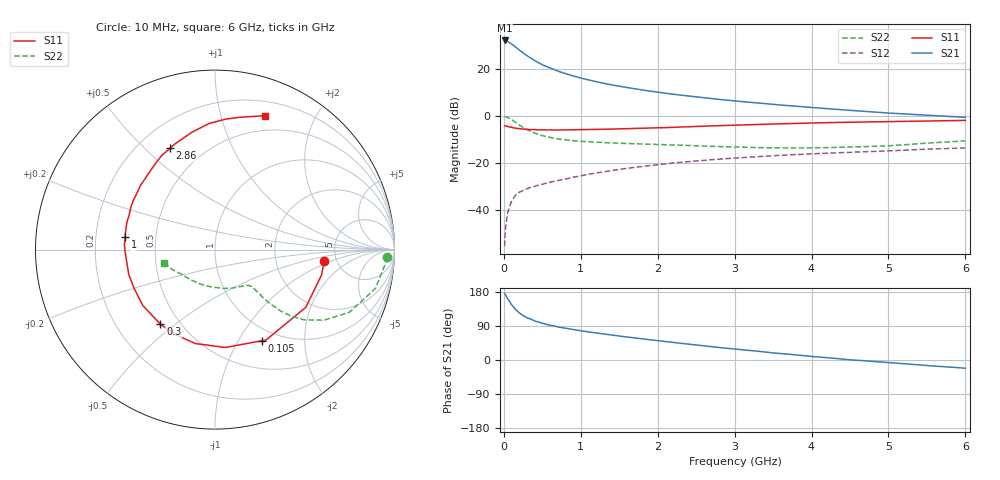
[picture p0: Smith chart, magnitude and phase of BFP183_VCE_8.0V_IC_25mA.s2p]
! Infineon Technologies  Discrete & RF Semiconductors
! BFP183
! VCE = 8.0 V,  IC =  25 mA
! Common Emitter S-Parameters:  Jan 2016
# GHz  S  MA  R  50
!  f  S11  S21  S12  S22
! GHz  MAG  ANG  MAG  ANG  MAG  ANG  MAG  ANG
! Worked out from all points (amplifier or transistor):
!   210 points, 10 MHz to 6 GHz, reference 50 ohm
!   highest |S21| = 31.9 dB at 10 MHz (marker M1)
!   |S21| within 3 dB of that: start of sweep to 160.5 MHz
!   unconditionally stable (mu >= 1): 869 MHz to 5.822 GHz
!   at 185 MHz: K = 0.39, MSG = 30.6 dB, |S12| = -32.9 dB
!   at 1.52 GHz: K = 1.12, MAG = 15.4 dB, |S12| = -22.7 dB
!   at 6 GHz: K = 0.97, MSG = 6.5 dB, |S12| = -13.7 dB
!   S11 on the Smith chart (normalised r, x): 10 MHz: 3.96, -0.82; 105 MHz: 0.84, -1.27; 300 MHz: 0.39, -0.44; 1 GHz: 0.33, +0.06; 2.86 GHz: 0.33, +0.60; 6 GHz: 0.34, +1.38
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0.01  0.6113 -6.1  39.56 175.5  0.0017 79.5  0.958 -2.5
0.02  0.6104 -13.4  39.34 172.4  0.0037 80.6  0.9489 -5.4
0.05  0.5994 -32.5  37.83 161.5  0.0086 77.7  0.9199 -13.6
0.1  0.5782 -60.5  33.46 146.0  0.0151 64.9  0.8261 -25.0
0.105  0.5711 -62.7  32.94 144.9  0.0156 64.0  0.8153 -25.7
0.15  0.5486 -83.9  28.9 133.6  0.0203 57.9  0.7241 -32.9
0.2  0.5347 -101.9  24.88 124.3  0.0236 54.1  0.6345 -38.1
0.26  0.5196 -117.4  20.85 116.1  0.0263 50.9  0.5508 -41.5
0.3  0.515 -126.2  18.77 111.7  0.0282 50.2  0.5036 -43.0
0.4  0.5086 -142.3  14.79 103.0  0.032 49.4  0.4263 -44.6
0.5  0.4998 -154.3  12.08 96.7  0.0351 49.2  0.3773 -45.0
0.6  0.5002 -163.8  10.3 91.6  0.0388 50.4  0.3447 -44.9
0.7  0.4966 -170.9  8.833 87.4  0.0419 51.4  0.3214 -44.8
1  0.5064 171.9  6.283 77.1  0.0528 52.8  0.2858 -45.6
1.02  0.5068 171.0  6.174 76.5  0.0537 52.8  0.2843 -45.7
1.5  0.5271 152.0  4.224 63.2  0.0723 52.4  0.2604 -50.2
2.02  0.5536 135.1  3.114 50.6  0.0922 49.1  0.2449 -59.0
2.86  0.6179 113.9  2.171 31.7  0.1214 42.0  0.22 -78.6
3.1  0.6356 108.8  1.992 27.0  0.1291 39.9  0.2134 -85.1
4.1  0.7075 91.2  1.452 7.8  0.1577 30.7  0.2089 -116.7
5.1  0.7537 78.4  1.115 -8.2  0.1818 23.1  0.2353 -145.4
6  0.7956 69.7  0.923 -21.7  0.2063 15.1  0.2932 -165.5
